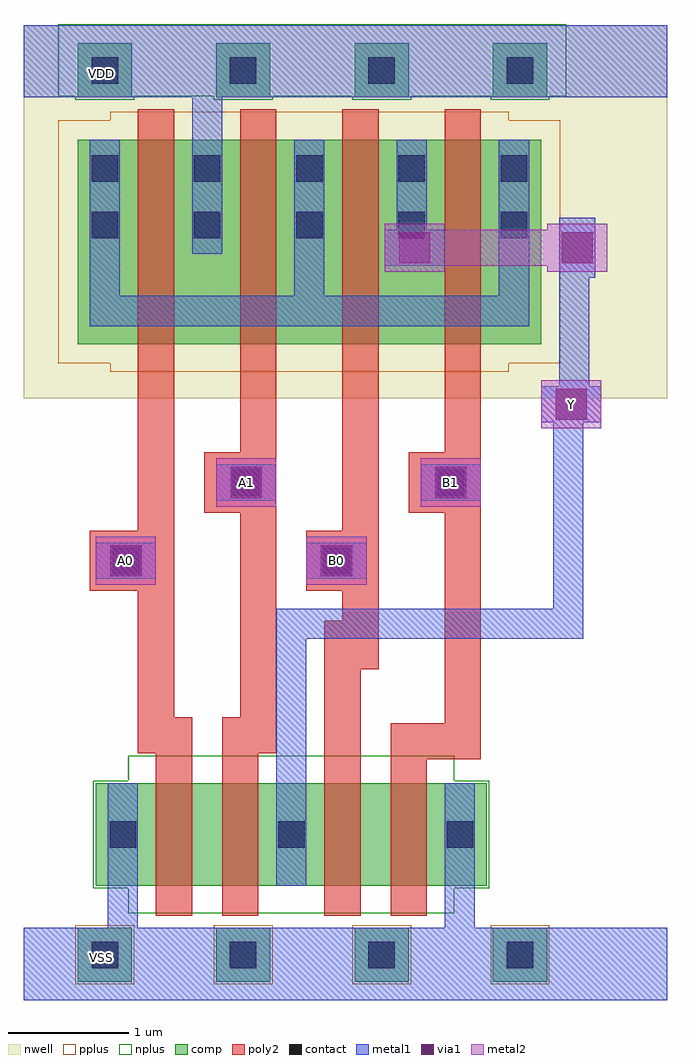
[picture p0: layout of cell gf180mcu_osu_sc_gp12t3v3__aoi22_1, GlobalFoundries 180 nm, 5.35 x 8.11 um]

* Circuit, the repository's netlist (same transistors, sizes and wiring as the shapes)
* Copyright 2022 Google LLC
*
* Licensed under the Apache License, Version 2.0 (the "License");
* you may not use this file except in compliance with the License.
* You may obtain a copy of the License at
*
*      http://www.apache.org/licenses/LICENSE-2.0
*
* Unless required by applicable law or agreed to in writing, software
* distributed under the License is distributed on an "AS IS" BASIS,
* WITHOUT WARRANTIES OR CONDITIONS OF ANY KIND, either express or implied.
* See the License for the specific language governing permissions and
* limitations under the License.

.inc "/import/yukari1/lrburle/OSU_180/char/techfiles/design.hspice"
.lib "/import/yukari1/lrburle/OSU_180/char/techfiles/sm141064.hspice" typical

.GLOBAL VDD
.GLOBAL VSS

.option scale=0.05u

.subckt gf180mcu_osu_sc_gp12t3v3__aoi22_1 Y A0 A1 B0 B1
X0 a_9_109 B1 Y VDD pmos_3p3 w=34 l=6
X1 Y B0 a_9_109 VDD pmos_3p3 w=34 l=6
X2 a_9_109 A1 VDD VDD pmos_3p3 w=34 l=6
X3 VDD A0 a_9_109 VDD pmos_3p3 w=34 l=6
X4 a_56_19 B0 Y VSS nmos_3p3 w=17 l=6
X5 VSS B1 a_56_19 VSS nmos_3p3 w=17 l=6
X6 a_28_19 A0 VSS VSS nmos_3p3 w=17 l=6
X7 Y A1 a_28_19 VSS nmos_3p3 w=17 l=6
.ends

** hspice subcircuit dictionary

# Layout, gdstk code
import gdstk
lib = gdstk.Library(unit=1e-6, precision=1e-09)
def R(c, l, rs):  # rectangles x0, y0, x1, y1
    for r in rs: c.add(gdstk.rectangle(r[:2], r[2:], *l))
def A(c, l, x, y, w, h, nx, ny, dx, dy):  # array of equal rectangles
    R(c, l, [(x+i*dx, y+j*dy, x+i*dx+w, y+j*dy+h) for i in range(nx) for j in range(ny)])
nwell = (21, 0)
comp = (22, 0)
poly2 = (30, 0)
pplus = (31, 0)
nplus = (32, 0)
contact = (33, 0)
metal1 = (34, 0)
via1 = (35, 0)
metal2 = (36, 0)

gf180mcu_osu_sc_gp12t3v3 = lib.new_cell('gf180mcu_osu_sc_gp12t3v3__aoi22_1')
R(gf180mcu_osu_sc_gp12t3v3, nwell, [(0,5,5.35,8.1)])
A(gf180mcu_osu_sc_gp12t3v3, comp, 0.45, 0.15, 0.45, 0.45, 4, 2, 1.15, 7.35)
R(gf180mcu_osu_sc_gp12t3v3, comp, [(0.6,0.95,3.85,1.8), (0.45,5.45,4.3,7.15)])
R(gf180mcu_osu_sc_gp12t3v3, poly2, [(1.1,0.7,1.4,2.05), (1.65,0.7,1.95,2.05), (2.5,0.7,2.8,2.75), (3.05,0.7,3.35,2), (3.05,2,3.8,2.3), (0.95,2.05,1.4,2.35), (1.65,2.05,2.1,2.35), (3.5,2.3,3.8,4.05), (0.95,2.35,1.25,3.4), (1.8,2.35,2.1,4.05), (2.5,2.75,2.95,3.15), (2.65,3.15,2.95,3.4), (0.55,3.4,1.25,3.9), (2.35,3.4,2.95,3.9), (0.95,3.9,1.25,7.4), (2.65,3.9,2.95,7.4), (1.5,4.05,2.1,4.55), (3.2,4.05,3.8,4.55), (1.8,4.55,2.1,7.4), (3.5,4.55,3.8,7.4)])
A(gf180mcu_osu_sc_gp12t3v3, pplus, 0.43, 0.13, 0.49, 0.49, 4, 1, 1.15, 0)
R(gf180mcu_osu_sc_gp12t3v3, pplus, [(0.72,5.22,4.03,5.29), (0.29,5.29,4.46,7.31), (0.72,7.31,4.03,7.38)])
A(gf180mcu_osu_sc_gp12t3v3, nplus, 0.43, 7.48, 0.49, 0.03, 4, 1, 1.15, 0)
R(gf180mcu_osu_sc_gp12t3v3, nplus, [(0.87,0.72,3.58,0.93), (0.58,0.93,3.87,1.82), (0.87,1.82,3.58,2.03), (0.29,7.51,4.51,8.11)])
A(gf180mcu_osu_sc_gp12t3v3, contact, 0.565, 0.265, 0.22, 0.22, 4, 2, 1.15, 7.35)
A(gf180mcu_osu_sc_gp12t3v3, contact, 0.715, 1.265, 0.22, 0.22, 3, 1, 1.4, 0)
A(gf180mcu_osu_sc_gp12t3v3, contact, 0.565, 6.33, 0.22, 0.22, 5, 2, 0.85, 0.47)
R(gf180mcu_osu_sc_gp12t3v3, contact, [(0.74,3.54,0.96,3.76), (2.49,3.54,2.71,3.76), (1.74,4.19,1.96,4.41), (3.44,4.19,3.66,4.41)])
A(gf180mcu_osu_sc_gp12t3v3, metal1, 0.55, 5.85, 0.25, 1.3, 3, 1, 1.7, 0)
R(gf180mcu_osu_sc_gp12t3v3, metal1, [(0,0,5.35,0.6), (0.7,0.6,0.95,1.8), (3.5,0.6,3.75,1.8), (2.1,0.95,2.35,3), (2.1,3,4.65,3.25), (4.4,3.25,4.65,4.8), (0.6,3.5,1.1,3.8), (2.35,3.5,2.85,3.8), (1.6,4.15,2.1,4.45), (3.3,4.15,3.8,4.45), (4.3,4.8,4.8,5.1), (4.45,5.1,4.7,6), (0.55,5.6,4.2,5.85), (4.45,6,4.75,6.5), (3,6.1,3.5,6.4), (1.4,6.2,1.65,7.5), (3.1,6.4,3.35,7.15), (0,7.5,5.35,8.1)])
R(gf180mcu_osu_sc_gp12t3v3, via1, [(0.72,3.52,0.98,3.78), (2.47,3.52,2.73,3.78), (1.72,4.17,1.98,4.43), (3.42,4.17,3.68,4.43), (4.42,4.82,4.68,5.08), (3.12,6.12,3.38,6.38), (4.47,6.12,4.73,6.38)])
R(gf180mcu_osu_sc_gp12t3v3, metal2, [(0.6,3.45,1.1,3.85), (2.35,3.45,2.85,3.85), (1.6,4.1,2.1,4.5), (3.3,4.1,3.8,4.5), (4.3,4.75,4.8,5.15), (3,6.05,3.5,6.1), (4.35,6.05,4.85,6.1), (3,6.1,4.85,6.4), (3,6.4,3.5,6.45), (4.35,6.4,4.85,6.45)])
gf180mcu_osu_sc_gp12t3v3.add(gdstk.Label('VDD', (0.65,7.7), layer=34, texttype=0))
gf180mcu_osu_sc_gp12t3v3.add(gdstk.Label('VSS', (0.65,0.35), layer=34, texttype=0))
gf180mcu_osu_sc_gp12t3v3.add(gdstk.Label('Y', (4.55,4.95), layer=36, texttype=10))
gf180mcu_osu_sc_gp12t3v3.add(gdstk.Label('A0', (0.85,3.65), layer=36, texttype=10))
gf180mcu_osu_sc_gp12t3v3.add(gdstk.Label('A1', (1.85,4.3), layer=36, texttype=10))
gf180mcu_osu_sc_gp12t3v3.add(gdstk.Label('B0', (2.6,3.65), layer=36, texttype=10))
gf180mcu_osu_sc_gp12t3v3.add(gdstk.Label('B1', (3.55,4.3), layer=36, texttype=10))

lib.write_gds('gf180mcu_osu_sc_gp12t3v3__aoi22_1.gds')
